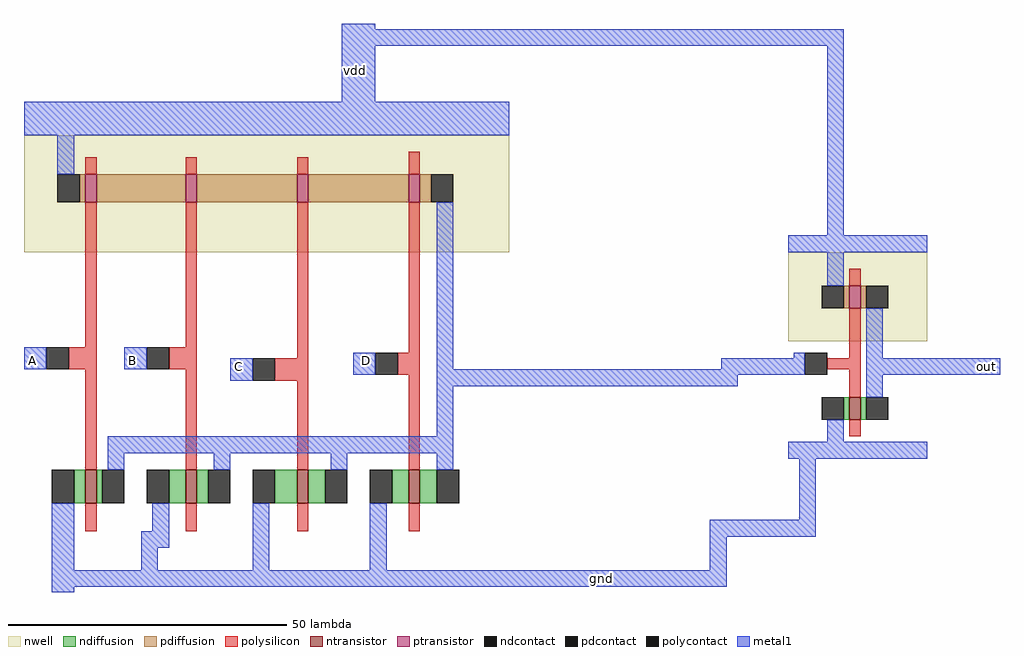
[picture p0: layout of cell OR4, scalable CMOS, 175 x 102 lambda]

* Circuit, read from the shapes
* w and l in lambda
.subckt OR4 A B C D gnd out vdd
M1 not_0/in A gnd VSUBS nfet w=6 l=2
M2 not_0/in B gnd VSUBS nfet w=6 l=2
M3 not_0/in C gnd VSUBS nfet w=6 l=2
M4 not_0/in D gnd VSUBS nfet w=6 l=2
M5 out not_0/in gnd VSUBS nfet w=4 l=2
M6 n1 A vdd n2 pfet w=5 l=2
M7 n3 B n1 n2 pfet w=5 l=2
M8 n4 C n3 n2 pfet w=5 l=2
M9 not_0/in D n4 n2 pfet w=5 l=2
M10 out not_0/in vdd n5 pfet w=4 l=2
.ends

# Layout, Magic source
magic
tech scmos
<< nwell >>
rect -21 0 66 21
<< ntransistor >>
rect -10 -45 -8 -39
rect 8 -45 10 -39
rect 28 -45 30 -39
rect 48 -45 50 -39
<< ptransistor >>
rect -10 9 -8 14
rect 8 9 10 14
rect 28 9 30 14
rect 48 9 50 14
<< ndiffusion >>
rect -12 -45 -10 -39
rect -8 -45 -7 -39
rect 5 -45 8 -39
rect 10 -45 12 -39
rect 24 -45 28 -39
rect 30 -45 33 -39
rect 45 -45 48 -39
rect 50 -45 53 -39
<< pdiffusion >>
rect -11 9 -10 14
rect -8 9 8 14
rect 10 9 28 14
rect 30 9 48 14
rect 50 9 52 14
<< ndcontact >>
rect -16 -45 -12 -39
rect -7 -45 -3 -39
rect 1 -45 5 -39
rect 12 -45 16 -39
rect 20 -45 24 -39
rect 33 -45 37 -39
rect 41 -45 45 -39
rect 53 -45 57 -39
<< pdcontact >>
rect -15 9 -11 14
rect 52 9 56 14
<< polysilicon >>
rect -10 14 -8 17
rect 8 14 10 17
rect 28 14 30 17
rect 48 14 50 18
rect -10 -17 -8 9
rect 8 -17 10 9
rect -13 -21 -8 -17
rect 5 -21 10 -17
rect 28 -19 30 9
rect 48 -18 50 9
rect -10 -39 -8 -21
rect 8 -39 10 -21
rect 24 -23 30 -19
rect 46 -22 50 -18
rect 28 -39 30 -23
rect 48 -39 50 -22
rect -10 -50 -8 -45
rect 8 -50 10 -45
rect 28 -50 30 -45
rect 48 -50 50 -45
<< polycontact >>
rect -17 -21 -13 -17
rect 1 -21 5 -17
rect 20 -23 24 -19
rect 42 -22 46 -18
<< metal1 >>
rect 36 40 42 41
rect 36 37 126 40
rect 36 27 42 37
rect -21 21 66 27
rect -15 14 -12 21
rect -21 -21 -17 -17
rect -3 -21 1 -17
rect 16 -23 20 -19
rect 38 -22 42 -18
rect 53 -21 56 9
rect 123 2 126 37
rect 104 -21 118 -19
rect 53 -22 118 -21
rect 138 -22 154 -19
rect 53 -24 107 -22
rect 53 -33 56 -24
rect -6 -36 56 -33
rect -6 -39 -3 -36
rect 13 -39 16 -36
rect 34 -39 37 -36
rect 53 -39 56 -36
rect -16 -57 -12 -45
rect 2 -50 5 -45
rect 0 -53 5 -50
rect 0 -57 3 -53
rect 20 -57 23 -45
rect 41 -57 44 -45
rect 118 -48 121 -35
rect 102 -51 121 -48
rect 102 -57 105 -51
rect -16 -60 105 -57
rect -16 -61 -12 -60
use not  not_0
transform 1 0 125 0 1 -17
box -9 -20 16 20
<< labels >>
rlabel metal1 151 -21 152 -20 7 out
rlabel metal1 82 -59 83 -58 1 gnd
rlabel metal1 40 -20 41 -19 1 D
rlabel metal1 17 -21 18 -20 1 C
rlabel metal1 -2 -20 -1 -19 1 B
rlabel metal1 -20 -20 -19 -19 3 A
rlabel metal1 38 32 39 33 1 vdd
<< end >>

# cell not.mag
magic
tech scmos
<< nwell >>
rect -9 1 16 17
<< ntransistor >>
rect 2 -13 4 -9
<< ptransistor >>
rect 2 7 4 11
<< ndiffusion >>
rect 1 -13 2 -9
rect 4 -13 5 -9
<< pdiffusion >>
rect 1 7 2 11
rect 4 7 5 11
<< ndcontact >>
rect -3 -13 1 -9
rect 5 -13 9 -9
<< pdcontact >>
rect -3 7 1 11
rect 5 7 9 11
<< polysilicon >>
rect 2 11 4 14
rect 2 -2 4 7
rect -2 -4 4 -2
rect 2 -9 4 -4
rect 2 -16 4 -13
<< polycontact >>
rect -6 -5 -2 -1
<< metal1 >>
rect -9 17 16 20
rect -2 11 1 17
rect -8 -5 -6 -1
rect 5 -2 8 7
rect 5 -5 16 -2
rect 5 -9 8 -5
rect -2 -17 1 -13
rect -9 -20 16 -17
<< labels >>
rlabel metal1 -5 18 -3 19 4 VDD
rlabel metal1 -8 -4 -7 -2 3 in
rlabel metal1 13 -4 15 -3 7 out
rlabel metal1 -2 -19 0 -18 1 gnd
<< end >>
